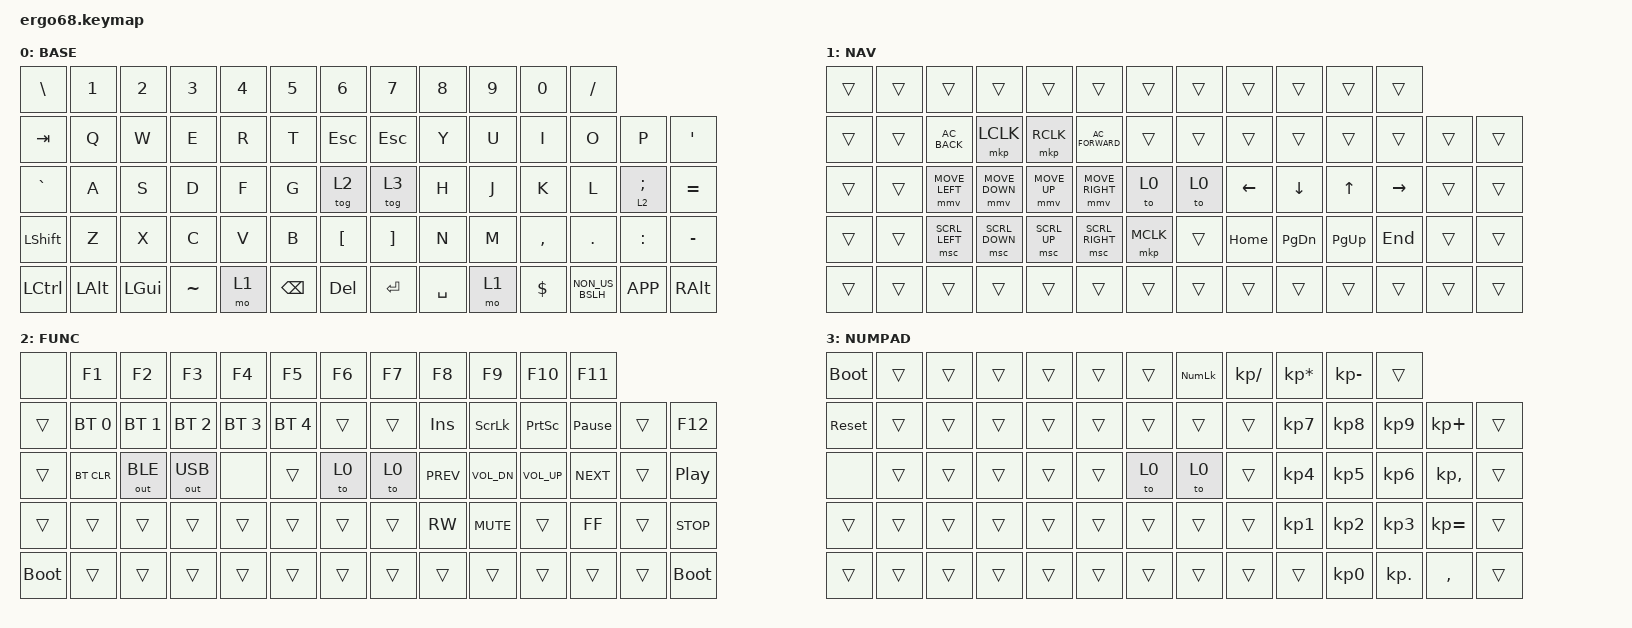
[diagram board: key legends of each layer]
/*
 * Generated from keyboards/ergo68/keymap.c by scripts/qmk_to_zmk_keymap.py. Don't edit it by hand:
 * change keymap.c and run `just ergo68-zmk-keymap`.
 */

#include <behaviors.dtsi>
#include <dt-bindings/zmk/bt.h>
#include <dt-bindings/zmk/keys.h>
#include <dt-bindings/zmk/outputs.h>
#include <dt-bindings/zmk/pointing.h>

/ {
    keymap {
        compatible = "zmk,keymap";

        base {
            display-name = "BASE";
            bindings = <
                &kp BSLH         &kp N1           &kp N2           &kp N3           &kp N4           &kp N5           &kp N6           &kp N7           &kp N8           &kp N9           &kp N0           &kp FSLH
                &kp TAB          &kp Q            &kp W            &kp E            &kp R            &kp T            &kp ESC          &kp ESC          &kp Y            &kp U            &kp I            &kp O            &kp P            &kp SQT
                &kp GRAVE        &kp A            &kp S            &kp D            &kp F            &kp G            &tog 2           &tog 3           &kp H            &kp J            &kp K            &kp L            &lt 2 SEMI       &kp EQUAL
                &kp LSHFT        &kp Z            &kp X            &kp C            &kp V            &kp B            &kp LBKT         &kp RBKT         &kp N            &kp M            &kp COMMA        &kp DOT          &kp COLON        &kp MINUS
                &kp LCTRL        &kp LALT         &kp LGUI         &kp TILDE        &mo 1            &kp BSPC         &kp DEL          &kp RET          &kp SPACE        &mo 1            &kp DOLLAR       &kp NON_US_BSLH  &kp K_APP        &kp RALT
            >;
        };

        nav {
            display-name = "NAV";
            bindings = <
                &trans            &trans            &trans            &trans            &trans            &trans            &trans            &trans            &trans            &trans            &trans            &trans
                &trans            &trans            &kp C_AC_BACK     &mkp LCLK         &mkp RCLK         &kp C_AC_FORWARD  &trans            &trans            &trans            &trans            &trans            &trans            &trans            &trans
                &trans            &trans            &mmv MOVE_LEFT    &mmv MOVE_DOWN    &mmv MOVE_UP      &mmv MOVE_RIGHT   &to 0             &to 0             &kp LEFT          &kp DOWN          &kp UP            &kp RIGHT         &trans            &trans
                &trans            &trans            &msc SCRL_LEFT    &msc SCRL_DOWN    &msc SCRL_UP      &msc SCRL_RIGHT   &mkp MCLK         &trans            &kp HOME          &kp PG_DN         &kp PG_UP         &kp END           &trans            &trans
                &trans            &trans            &trans            &trans            &trans            &trans            &trans            &trans            &trans            &trans            &trans            &trans            &trans            &trans
            >;
        };

        func {
            display-name = "FUNC";
            bindings = <
                &none            &kp F1           &kp F2           &kp F3           &kp F4           &kp F5           &kp F6           &kp F7           &kp F8           &kp F9           &kp F10          &kp F11
                &trans           &bt BT_SEL 0     &bt BT_SEL 1     &bt BT_SEL 2     &bt BT_SEL 3     &bt BT_SEL 4     &trans           &trans           &kp INS          &kp SLCK         &kp PSCRN        &kp PAUSE_BREAK  &trans           &kp F12
                &trans           &bt BT_CLR       &out OUT_BLE     &out OUT_USB     &none            &trans           &to 0            &to 0            &kp C_PREV       &kp C_VOL_DN     &kp C_VOL_UP     &kp C_NEXT       &trans           &kp C_PP
                &trans           &trans           &trans           &trans           &trans           &trans           &trans           &trans           &kp C_RW         &kp C_MUTE       &trans           &kp C_FF         &trans           &kp C_STOP
                &bootloader      &trans           &trans           &trans           &trans           &trans           &trans           &trans           &trans           &trans           &trans           &trans           &trans           &bootloader
            >;
        };

        numpad {
            display-name = "NUMPAD";
            bindings = <
                &bootloader      &trans           &trans           &trans           &trans           &trans           &trans           &kp KP_NUM       &kp KP_SLASH     &kp KP_MULTIPLY  &kp KP_MINUS     &trans
                &sys_reset       &trans           &trans           &trans           &trans           &trans           &trans           &trans           &trans           &kp KP_N7        &kp KP_N8        &kp KP_N9        &kp KP_PLUS      &trans
                &none            &trans           &trans           &trans           &trans           &trans           &to 0            &to 0            &trans           &kp KP_N4        &kp KP_N5        &kp KP_N6        &kp KP_COMMA     &trans
                &trans           &trans           &trans           &trans           &trans           &trans           &trans           &trans           &trans           &kp KP_N1        &kp KP_N2        &kp KP_N3        &kp KP_EQUAL     &trans
                &trans           &trans           &trans           &trans           &trans           &trans           &trans           &trans           &trans           &trans           &kp KP_N0        &kp KP_DOT       &kp COMMA        &trans
            >;
        };
    };
};
